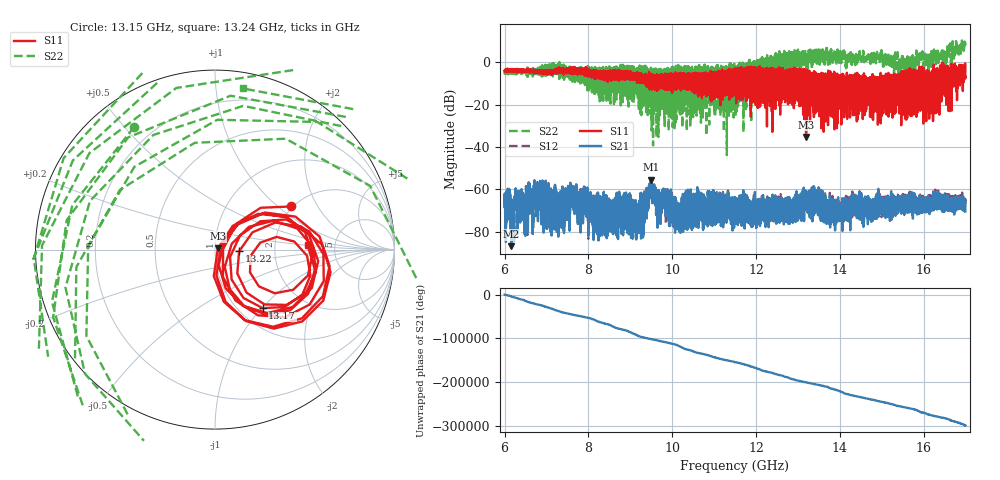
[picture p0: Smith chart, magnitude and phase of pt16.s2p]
#  HZ  S  RI  R  50.00
! Rohde & Schwarz Vector Network Analyzer
! Rohde-Schwarz,ZNA67-2Port,1332450062101215,3.01
! Created: UTC 10/26/2026, 5:12:29 PM
! freq[Hz]  re:S11  im:S11  re:S21  im:S21  re:S12  im:S12  re:S22  im:S22
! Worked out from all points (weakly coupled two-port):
!   11001 points, 6 GHz to 17 GHz, reference 50 ohm
!   highest |S21| = -55.52 dB at 9.491 GHz (marker M1); lowest = -86.9 dB at 6.164 GHz (marker M2)
!   lowest |S11| = -35.3 dB at 13.2 GHz (marker M3), VSWR 1.03, Z = 51.6 + j0.655 ohm
!   |S11| at or under -10 dB: 14.13784 GHz to 14.14427 GHz (6.427 MHz wide, 0.0454 % of centre); 14.56799 GHz to 14.57402 GHz (6.034 MHz wide, 0.0414 % of centre); 16.0994 GHz to 16.11276 GHz (13.36 MHz wide, 0.083 % of centre) (the widest 3 of 624)
!   |S22| runs from -43.9 to 10.3 dB; largest |S21 - S12| = 0.0011
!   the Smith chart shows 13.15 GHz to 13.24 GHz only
!   S11 on the Smith chart (normalised r, x): 13.15 GHz: 1.96, +1.23; 13.17 GHz: 1.27, -1.01; 13.22 GHz: 1.31, -0.03; 13.24 GHz: 3.12, +0.22
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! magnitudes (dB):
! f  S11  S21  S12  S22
! 6 GHz  -4.2  -63.6  -63.8  -4.3
! 6.164 GHz  -4.0  -86.9  -85.2  -4.4
! 6.739 GHz  -3.9  -66.0  -66.6  -4.4
! 7.288 GHz  -2.8  -65.6  -66.1  -4.9
! 7.614 GHz  -2.9  -61.5  -61.2  -3.7
! 7.834 GHz  -3.6  -63.5  -63.1  -3.0
! 9.158 GHz  -9.1  -70.6  -70.6  -15.1
! 9.491 GHz  -7.1  -55.5  -55.6  -2.6
! 9.667 GHz  -6.8  -62.7  -62.9  -4.6
! 9.831 GHz  -5.3  -65.1  -64.9  -3.4
! 10.17 GHz  -7.1  -69.2  -69.9  -5.0
! 10.39 GHz  -5.4  -72.6  -72.8  -2.6
! 11.5 GHz  -3.2  -70.4  -68.4  -5.1
! 12.82 GHz  -3.5  -73.1  -70.7  3.1
! 13.15 GHz  -6.2  -64.7  -64.7  -1.7
! 13.17 GHz  -7.5  -62.0  -61.8  4.9
! 13.2 GHz  -35.3  -64.8  -64.1  -0.2
! 13.22 GHz  -17.4  -67.4  -65.8  0.0
! 13.24 GHz  -5.7  -65.7  -65.3  -0.8
! 13.33 GHz  -7.6  -66.3  -66.1  -2.3
! 15.17 GHz  -20.5  -70.0  -68.8  0.4
! 17 GHz  -6.9  -70.6  -66.9  8.7
